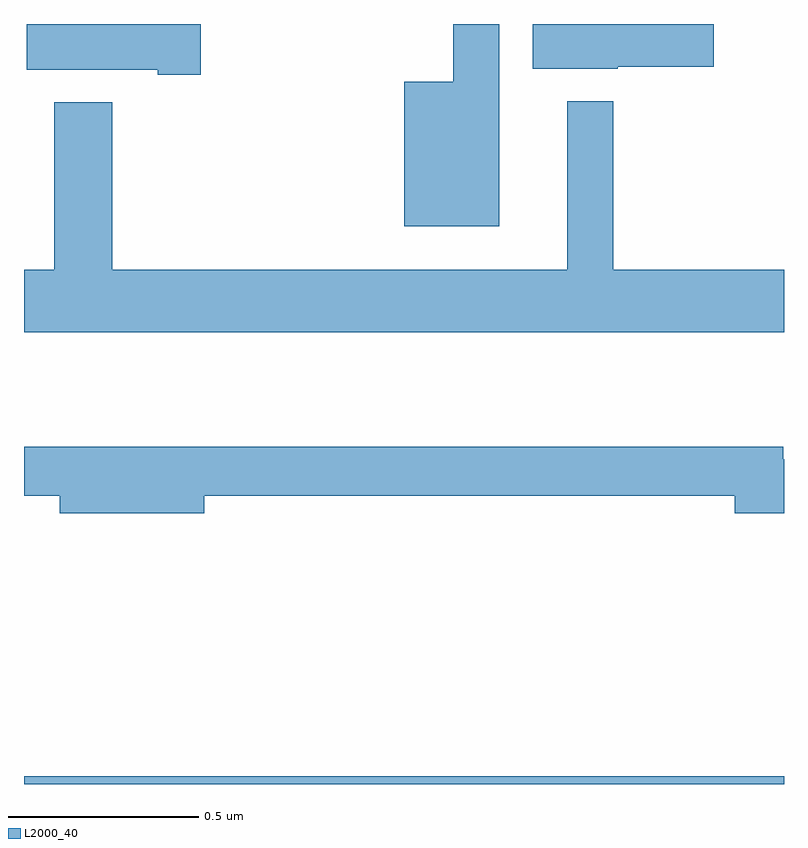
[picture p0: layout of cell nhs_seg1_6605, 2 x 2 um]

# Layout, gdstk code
import gdstk
lib = gdstk.Library(unit=1e-6, precision=1e-09)
def R(c, l, rs):  # rectangles x0, y0, x1, y1
    for r in rs: c.add(gdstk.rectangle(r[:2], r[2:], *l))
def P(c, l, *ps):  # polygons
    for p in ps: c.add(gdstk.Polygon(p, *l))
L2000_40 = (2000, 40)

nhs_seg1_6605 = lib.new_cell('nhs_seg1_6605')
R(nhs_seg1_6605, L2000_40, [(193,561.199,195,561.22)])
P(nhs_seg1_6605, L2000_40, [(194.251,563.199),(194.13,563.199),(194.13,563.047),(194,563.047),(194,562.667),(194.251,562.667)],
  [(193.465,563.199),(193.007,563.199),(193.007,563.078),(193.352,563.078),(193.352,563.066),(193.465,563.066)],
  [(194.562,563.087),(194.815,563.087),(194.815,563.199),(194.339,563.199),(194.339,563.081),(194.562,563.081)],
  [(195,562.552),(194.551,562.552),(194.551,562.996),(194.429,562.996),(194.429,562.552),(193.232,562.552),(193.232,562.993),(193.079,562.993),(193.079,562.552),(193,562.552),(193,562.388),(195,562.388)],
  [(193.474,561.958),(194.87,561.958),(194.87,561.911),(195,561.911),(195,562.053),(194.998,562.053),(194.998,562.087),(193,562.087),(193,561.958),(193.094,561.958),(193.094,561.911),(193.474,561.911)])

lib.write_gds('nhs_seg1_6605.gds')
